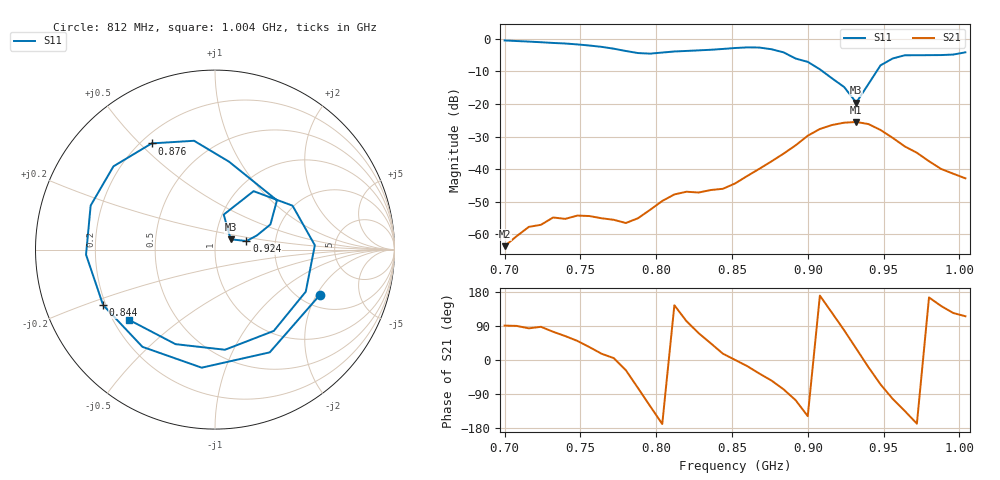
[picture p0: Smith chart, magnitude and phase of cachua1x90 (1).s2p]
# Hz S RI R 50
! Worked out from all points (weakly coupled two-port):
!   39 points, 700 MHz to 1.004 GHz, reference 50 ohm
!   highest |S21| = -25.54 dB at 932 MHz (marker M1); lowest = -63.6 dB at 700 MHz (marker M2)
!   lowest |S11| = -19.6 dB at 932 MHz (marker M3), VSWR 1.23, Z = 59.2 + j6.87 ohm
!   |S11| at or under -10 dB: 909.8 MHz to 945.5 MHz (35.71 MHz wide, 3.85 % of centre)
!   S12 and S22 are empty: the file has one direction only
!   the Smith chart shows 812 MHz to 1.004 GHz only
!   S11 on the Smith chart (normalised r, x): 812 MHz: 2.50, -2.13; 844 MHz: 0.19, -0.23; 876 MHz: 0.24, +0.54; 924 MHz: 1.42, +0.14; 1.004 GHz: 0.26, -0.34
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7e8  0.7613 0.5494  -8.51e-06 0.000661  0 0  0 0
7.24e8  0.8469 -0.2454  5.82e-05 0.0014  0 0  0 0
7.4e8  0.4596 -0.7064  0.000783 0.00155  0 0  0 0
7.56e8  -0.1902 -0.7615  0.00159 0.00107  0 0  0 0
7.72e8  -0.6693 -0.2117  0.00167 0.000147  0 0  0 0
7.8e8  -0.6108 0.2139  0.00133 -0.00068  0 0  0 0
7.88e8  -0.2719 0.5371  0.000489 -0.0017  0 0  0 0
7.96e8  0.2199 0.5473  -0.00125 -0.00203  0 0  0 0
8.04e8  0.5744 0.2142  -0.0032 -0.000626  0 0  0 0
8.12e8  0.5832 -0.2539  -0.00334 0.00238  0 0  0 0
8.28e8  -0.0742 -0.6579  0.00144 0.00415  0 0  0 0
8.44e8  -0.6235 -0.3091  0.00479 0.00144  0 0  0 0
8.52e8  -0.7185 -0.0282  0.00604 3.87e-05  0 0  0 0
8.76e8  -0.3529 0.5916  0.00772 -0.0106  0 0  0 0
9e8  0.3452 0.2745  -0.0277 -0.0172  0 0  0 0
9.08e8  0.3088 0.1403  -0.0407 0.00723  0 0  0 0
9.24e8  0.1752 0.0478  0.0102 0.0506  0 0  0 0
9.32e8  0.0875 0.0574  0.0458 0.0264  0 0  0 0
9.56e8  0.4321 0.2447  -0.00653 -0.0295  0 0  0 0
9.64e8  0.5563 0.0241  -0.0156 -0.016  0 0  0 0
9.8e8  0.3276 -0.453  -0.0128 0.00341  0 0  0 0
1.004e9  -0.4767 -0.3926  -0.00311 0.00654  0 0  0 0
